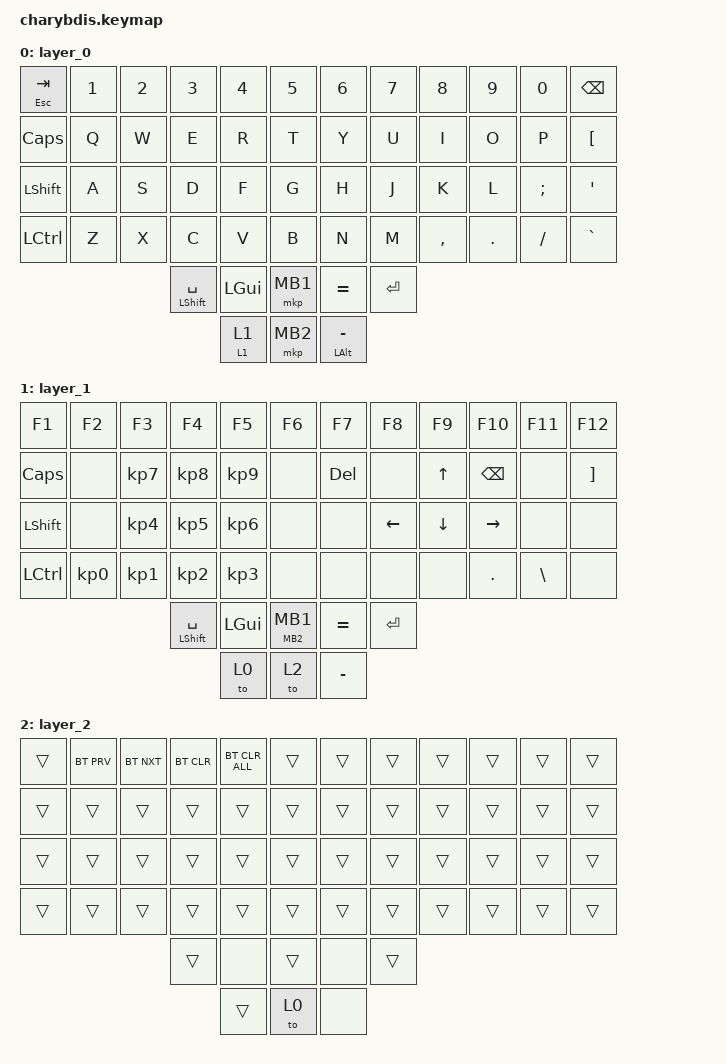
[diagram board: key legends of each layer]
#include <behaviors.dtsi>
#include <dt-bindings/zmk/bt.h>
#include <dt-bindings/zmk/keys.h>
#include <dt-bindings/zmk/pointing.h>

&lt {
    tapping-term-ms = <200>;
    flavor = "hold-preferred";
    quick-tap-ms = <150>;
};

/ {
    behaviors {
        shift_to: shift_to {
            compatible = "zmk,behavior-hold-tap";
            label = "SHIFT_TO";
            bindings = <&kp>, <&to>;

            #binding-cells = <2>;
            tapping-term-ms = <300>;
            quick-tap-ms = <150>;
            hold-trigger-on-release;
        };

        mouse: mouse {
            compatible = "zmk,behavior-hold-tap";
            label = "MOUSE";
            bindings = <&mkp>, <&mkp>;

            #binding-cells = <2>;
            tapping-term-ms = <400>;
            hold-trigger-key-positions = <50>;
            hold-trigger-on-release;
        };

        kp_kp: kp_kp {
            compatible = "zmk,behavior-hold-tap";
            label = "KP_KP";
            bindings = <&kp>, <&kp>;

            #binding-cells = <2>;
            tapping-term-ms = <450>;
        };

        sl_st: sl_st {
            compatible = "zmk,behavior-hold-tap";
            label = "SL_ST";
            bindings = <&sl>, <&to>;

            #binding-cells = <2>;
            tapping-term-ms = <250>;
        };
    };

    combos {
        compatible = "zmk,combos";

        transup {
            bindings = <&kp UP>;
            key-positions = <36 53>;
        };

        transdown {
            bindings = <&kp DOWN>;
            key-positions = <36 55>;
        };
    };

    keymap {
        compatible = "zmk,keymap";

        layer_0 {
            bindings = <
&kp_kp ESC TAB  &kp N1  &kp N2  &kp N3                   &kp N4        &kp N5      &kp N6                 &kp N7     &kp N8     &kp N9      &kp N0    &kp BACKSPACE
&kp CAPS        &kp Q   &kp W   &kp E                    &kp R         &kp T       &kp Y                  &kp U      &kp I      &kp O       &kp P     &kp LEFT_BRACKET
&kp LEFT_SHIFT  &kp A   &kp S   &kp D                    &kp F         &kp G       &kp H                  &kp J      &kp K      &kp L       &kp SEMI  &kp SQT
&kp LCTRL       &kp Z   &kp X   &kp C                    &kp V         &kp B       &kp N                  &kp M      &kp COMMA  &kp PERIOD  &kp FSLH  &kp GRAVE
                                &kp_kp LEFT_SHIFT SPACE  &kp LEFT_GUI  &mkp MB1    &kp EQUAL              &kp ENTER
                                                         &sl_st 1 1    &mkp MB2    &kp_kp LEFT_ALT MINUS
            >;
        };

        layer_1 {
            bindings = <
&kp F1          &kp F2           &kp F3           &kp F4                   &kp F5           &kp F6            &kp F7      &kp F8     &kp F9    &kp F10        &kp F11   &kp F12
&kp CAPS        &none            &kp KP_NUMBER_7  &kp KP_NUMBER_8          &kp KP_NUMBER_9  &none             &kp DELETE  &none      &kp UP    &kp BACKSPACE  &none     &kp RIGHT_BRACKET
&kp LEFT_SHIFT  &none            &kp KP_NUMBER_4  &kp KP_NUMBER_5          &kp KP_NUMBER_6  &none             &none       &kp LEFT   &kp DOWN  &kp RIGHT      &none     &none
&kp LCTRL       &kp KP_NUMBER_0  &kp KP_NUMBER_1  &kp KP_NUMBER_2          &kp KP_NUMBER_3  &none             &none       &none      &none     &kp PERIOD     &kp BSLH  &none
                                                  &kp_kp LEFT_SHIFT SPACE  &kp LEFT_GUI     &mouse MB2 MB1    &kp EQUAL   &kp ENTER
                                                                           &to 0            &to 2             &kp MINUS
            >;
        };

        layer_2 {
            bindings = <
&trans  &bt BT_PRV  &bt BT_NXT  &bt BT_CLR  &bt BT_CLR_ALL  &trans    &trans  &trans  &trans  &trans  &trans  &trans
&trans  &trans      &trans      &trans      &trans          &trans    &trans  &trans  &trans  &trans  &trans  &trans
&trans  &trans      &trans      &trans      &trans          &trans    &trans  &trans  &trans  &trans  &trans  &trans
&trans  &trans      &trans      &trans      &trans          &trans    &trans  &trans  &trans  &trans  &trans  &trans
                                &trans      &none           &trans    &none   &trans
                                            &trans          &to 0     &none
            >;
        };

        /* layer_2 {
            bindings = <
&none  &none   &none    &none   &none         &none         &kp N1         &none         &none     &none  &none   &to 0
&none  &none   &none    &none   &none         &none         &none         &none          &rgb_ug RGB_BRD &rgb_ug RGB_BRI  &rgb_ug RGB_EFF   &rgb_ug RGB_TOG
&none  &none   &none    &none   &none         &none         &none         &mkp LCLK     &mkp RCLK  &none  &none   &none
&none  &none   &none    &none   &bt BT_NXT  &bt BT_CLR    &none         &none         &none     &none  &none   &none
                                   &none         &none         &none         &none         &none
                                                 &none         &none         &none
            >;
       
            
        };

       Mouse {
            bindings = <
&none        &none         &none         &none         &none      &none         &none       &none      &none         &none         &none         &none
&none        &bt BT_SEL 0  &bt BT_SEL 1  &bt BT_SEL 3  &none      &bt BT_CLR    &bt BT_CLR  &none      &bt BT_SEL 2  &bt BT_SEL 1  &bt BT_SEL 0  &none
&none        &trans        &trans        &mkp MCLK     &trans     &none         &none       &trans     &mkp MCLK     &trans        &trans        &none
&bootloader  &trans        &mkp RCLK     &mo 4         &mkp LCLK  &mo 5         &mo 5       &mkp LCLK  &mo 4         &mkp RCLK     &trans        &bootloader
                                         &mo 5         &mkp LCLK  &mkp RCLK     &mkp RCLK   &mkp LCLK
                                                       &none      &trans        &trans
            >;

            
        };

        layer_4 {
            bindings = <
&trans  &trans  &trans     &trans     &trans     &trans       &trans     &trans     &trans     &trans     &trans  &trans
&trans  &trans  &trans     &trans     &trans     &trans       &trans     &trans     &trans     &trans     &trans  &trans
&trans  &trans  &trans     &mkp MCLK  &trans     &trans       &trans     &trans     &mkp MCLK  &trans     &trans  &trans
&trans  &trans  &mkp RCLK  &trans     &mkp LCLK  &trans       &trans     &mkp LCLK  &trans     &mkp RCLK  &trans  &trans
                           &trans     &mkp LCLK  &mkp RCLK    &mkp RCLK  &mkp LCLK
                                      &trans     &trans       &trans
            >;
                
                
               
        };

        layer_5 {
            bindings = <
&trans  &trans  &trans     &trans     &trans     &trans       &trans     &trans     &trans     &trans     &trans  &trans
&trans  &trans  &trans     &trans     &trans     &trans       &trans     &trans     &trans     &trans     &trans  &trans
&trans  &trans  &trans     &mkp MCLK  &trans     &trans       &trans     &trans     &mkp MCLK  &trans     &trans  &trans
&trans  &trans  &mkp RCLK  &trans     &mkp LCLK  &trans       &trans     &mkp LCLK  &trans     &mkp RCLK  &trans  &trans
                           &trans     &mkp LCLK  &mkp RCLK    &mkp RCLK  &mkp LCLK
                                      &trans     &trans       &trans
            >;
                
                
        };*/
    };
};
